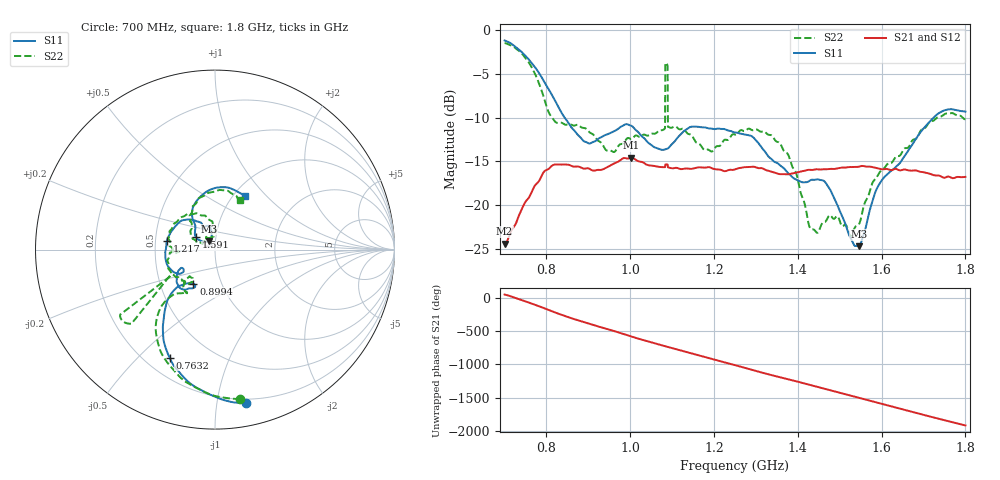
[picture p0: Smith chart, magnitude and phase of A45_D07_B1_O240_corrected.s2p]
! Created with skrf 1.9.0 (http://scikit-rf.org).
# Hz S RI R 50.0
!freq ReS11 ImS11 ReS21 ImS21 ReS12 ImS12 ReS22 ImS22
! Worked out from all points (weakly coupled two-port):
!   1601 points, 700 MHz to 1.8 GHz, reference 50 ohm
!   highest |S21| = -14.60 dB at 1.002 GHz (marker M1); lowest = -24.4 dB at 700 MHz (marker M2)
!   lowest |S11| = -24.7 dB at 1.546 GHz (marker M3), VSWR 1.12, Z = 46.6 + j4.47 ohm
!   |S11| at or under -10 dB: 843.1 MHz to 1.724 GHz (881.2 MHz wide, 68.6 % of centre)
!   |S22| runs from -23.6 to -1.5 dB; largest |S21 - S12| = 0.0035
!   S11 on the Smith chart (normalised r, x): 700 MHz: 0.17, -1.21; 763.2 MHz: 0.30, -0.62; 899.4 MHz: 0.73, -0.30; 1.217 GHz: 0.58, +0.06; 1.591 GHz: 0.80, +0.11; 1.8 GHz: 1.12, +0.76
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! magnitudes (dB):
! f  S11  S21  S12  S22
! 700 MHz  -1.2  -24.4  -24.2  -1.5
! 763.2 MHz  -3.7  -18.7  -18.7  -4.1
! 816.9 MHz  -7.7  -15.4  -15.5  -10.3
! 883.6 MHz  -12.4  -15.8  -15.7  -11.1
! 899.4 MHz  -12.9  -15.8  -15.9  -11.5
! 957.8 MHz  -11.6  -15.4  -15.4  -13.9
! 1.002 GHz  -10.9  -14.6  -14.7  -12.5
! 1.067 GHz  -13.6  -15.6  -15.6  -11.6
! 1.077 GHz  -13.7  -15.7  -15.7  -11.4
! 1.084 GHz  -13.6  -15.4  -15.4  -3.9
! 1.089 GHz  -13.6  -15.4  -15.4  -4.1
! 1.095 GHz  -13.3  -15.8  -15.8  -11.2
! 1.217 GHz  -11.3  -16.0  -16.0  -13.1
! 1.25 GHz  -11.7  -15.9  -15.9  -12.0
! 1.357 GHz  -15.5  -16.5  -16.4  -12.9
! 1.434 GHz  -17.1  -16.0  -16.0  -22.8
! 1.469 GHz  -17.7  -15.9  -15.9  -21.7
! 1.546 GHz  -24.7  -15.6  -15.6  -22.2
! 1.591 GHz  -17.9  -15.8  -15.8  -16.6
! 1.617 GHz  -16.3  -15.9  -15.9  -15.2
! 1.732 GHz  -9.7  -16.6  -16.6  -10.0
! 1.8 GHz  -9.3  -16.8  -16.8  -10.2
